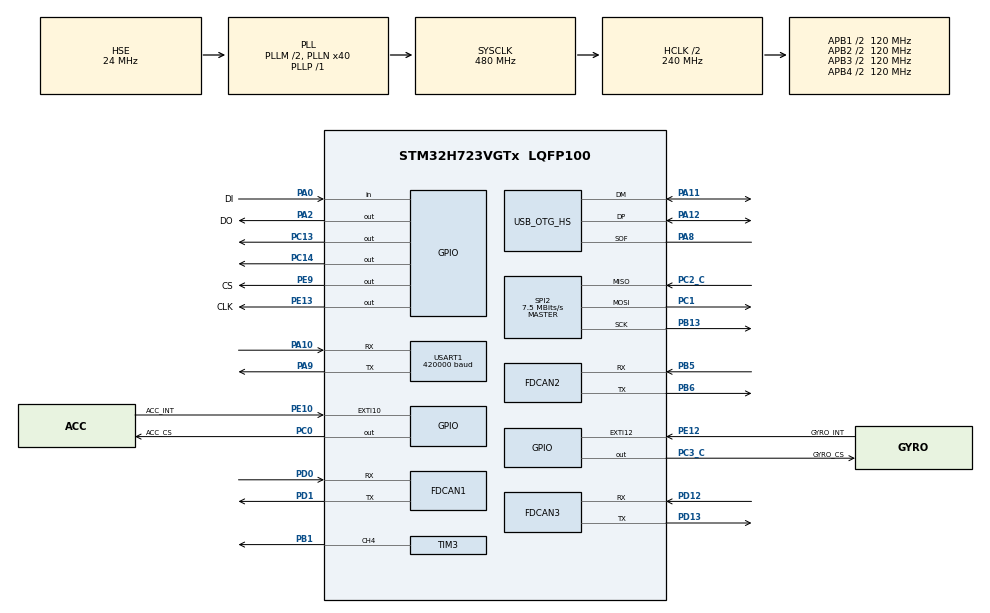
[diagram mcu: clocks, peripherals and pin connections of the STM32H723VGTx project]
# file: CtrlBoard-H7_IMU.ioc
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Dma.Request0=SPI2_RX
Dma.Request1=SPI2_TX
Dma.Request2=USART1_RX
Dma.SPI2_RX.0.Direction=DMA_PERIPH_TO_MEMORY
Dma.SPI2_RX.0.EventEnable=DISABLE
Dma.SPI2_RX.0.FIFOMode=DMA_FIFOMODE_DISABLE
Dma.SPI2_RX.0.Instance=DMA1_Stream0
Dma.SPI2_RX.0.MemDataAlignment=DMA_MDATAALIGN_BYTE
Dma.SPI2_RX.0.MemInc=DMA_MINC_ENABLE
Dma.SPI2_RX.0.Mode=DMA_NORMAL
Dma.SPI2_RX.0.PeriphDataAlignment=DMA_PDATAALIGN_BYTE
Dma.SPI2_RX.0.PeriphInc=DMA_PINC_DISABLE
Dma.SPI2_RX.0.Polarity=HAL_DMAMUX_REQ_GEN_RISING
Dma.SPI2_RX.0.Priority=DMA_PRIORITY_VERY_HIGH
Dma.SPI2_RX.0.RequestNumber=1
Dma.SPI2_RX.0.SignalID=NONE
Dma.SPI2_RX.0.SyncEnable=DISABLE
Dma.SPI2_RX.0.SyncPolarity=HAL_DMAMUX_SYNC_NO_EVENT
Dma.SPI2_RX.0.SyncRequestNumber=1
Dma.SPI2_RX.0.SyncSignalID=NONE
Dma.SPI2_TX.1.Direction=DMA_MEMORY_TO_PERIPH
Dma.SPI2_TX.1.EventEnable=DISABLE
Dma.SPI2_TX.1.FIFOMode=DMA_FIFOMODE_DISABLE
Dma.SPI2_TX.1.Instance=DMA1_Stream1
Dma.SPI2_TX.1.MemDataAlignment=DMA_MDATAALIGN_BYTE
Dma.SPI2_TX.1.MemInc=DMA_MINC_ENABLE
Dma.SPI2_TX.1.Mode=DMA_NORMAL
Dma.SPI2_TX.1.PeriphDataAlignment=DMA_PDATAALIGN_BYTE
Dma.SPI2_TX.1.PeriphInc=DMA_PINC_DISABLE
Dma.SPI2_TX.1.Polarity=HAL_DMAMUX_REQ_GEN_RISING
Dma.SPI2_TX.1.Priority=DMA_PRIORITY_HIGH
Dma.SPI2_TX.1.RequestNumber=1
Dma.SPI2_TX.1.SignalID=NONE
Dma.SPI2_TX.1.SyncEnable=DISABLE
Dma.SPI2_TX.1.SyncPolarity=HAL_DMAMUX_SYNC_NO_EVENT
Dma.SPI2_TX.1.SyncRequestNumber=1
Dma.SPI2_TX.1.SyncSignalID=NONE
Dma.USART1_RX.2.Direction=DMA_PERIPH_TO_MEMORY
Dma.USART1_RX.2.EventEnable=DISABLE
Dma.USART1_RX.2.FIFOMode=DMA_FIFOMODE_DISABLE
Dma.USART1_RX.2.Instance=DMA1_Stream2
Dma.USART1_RX.2.MemDataAlignment=DMA_MDATAALIGN_BYTE
Dma.USART1_RX.2.MemInc=DMA_MINC_ENABLE
Dma.USART1_RX.2.Mode=DMA_CIRCULAR
Dma.USART1_RX.2.PeriphDataAlignment=DMA_PDATAALIGN_BYTE
Dma.USART1_RX.2.PeriphInc=DMA_PINC_DISABLE
Dma.USART1_RX.2.Polarity=HAL_DMAMUX_REQ_GEN_RISING
Dma.USART1_RX.2.Priority=DMA_PRIORITY_HIGH
Dma.USART1_RX.2.RequestNumber=1
Dma.USART1_RX.2.SignalID=NONE
Dma.USART1_RX.2.SyncEnable=DISABLE
Dma.USART1_RX.2.SyncPolarity=HAL_DMAMUX_SYNC_NO_EVENT
Dma.USART1_RX.2.SyncRequestNumber=1
Dma.USART1_RX.2.SyncSignalID=NONE
FDCAN1.CalculateBaudRateNominal=1000000
FDCAN1.CalculateTimeBitNominal=1000
FDCAN1.CalculateTimeQuantumNominal=40.0
FDCAN1.DataPrescaler=4
FDCAN1.DataTimeSeg1=19
FDCAN1.DataTimeSeg2=5
FDCAN1.ExtFiltersNbr=5
FDCAN1.NominalPrescaler=4
FDCAN1.NominalTimeSeg1=19
FDCAN1.NominalTimeSeg2=5
FDCAN1.RxFifo0ElmtSize=FDCAN_DATA_BYTES_24
FDCAN1.RxFifo0ElmtsNbr=4
FDCAN1.RxFifo1ElmtSize=FDCAN_DATA_BYTES_24
FDCAN1.StdFiltersNbr=5
FDCAN1.TxElmtSize=FDCAN_DATA_BYTES_24
FDCAN1.TxFifoQueueElmtsNbr=8
FDCAN2.CalculateBaudRateNominal=1000000
FDCAN2.CalculateTimeBitNominal=1000
FDCAN2.CalculateTimeQuantumNominal=50.0
FDCAN2.DataPrescaler=5
FDCAN2.DataTimeSeg1=14
FDCAN2.DataTimeSeg2=5
FDCAN2.ExtFiltersNbr=5
FDCAN2.MessageRAMOffset=854
FDCAN2.NominalPrescaler=5
FDCAN2.NominalTimeSeg1=14
FDCAN2.NominalTimeSeg2=5
FDCAN2.RxFifo1ElmtSize=FDCAN_DATA_BYTES_24
FDCAN2.RxFifo1ElmtsNbr=4
FDCAN2.StdFiltersNbr=5
FDCAN2.TxElmtSize=FDCAN_DATA_BYTES_16
FDCAN2.TxFifoQueueElmtsNbr=4
FDCAN3.CalculateBaudRateNominal=1000000
FDCAN3.CalculateTimeBitNominal=1000
FDCAN3.CalculateTimeQuantumNominal=50.0
FDCAN3.DataPrescaler=5
FDCAN3.DataTimeSeg1=14
FDCAN3.DataTimeSeg2=5
FDCAN3.ExtFiltersNbr=5
FDCAN3.MessageRAMOffset=1709
FDCAN3.NominalPrescaler=5
FDCAN3.NominalTimeSeg1=14
FDCAN3.NominalTimeSeg2=5
FDCAN3.RxFifo0ElmtsNbr=2
FDCAN3.StdFiltersNbr=5
FDCAN3.TxFifoQueueElmtsNbr=3
FREERTOS.MEMORY_ALLOCATION=0
FREERTOS.Tasks01=defaultTask,0,128,StartDefaultTask,Default,NULL,Dynamic,NULL,NULL;INS_TASK,3,512,INS_Task,Default,NULL,Dynamic,NULL,NULL;OBSERVE_TASK,2,512,OBSERVE_Task,Default,NULL,Dynamic,NULL,NULL;REMOTE_CONTROL_,1,256,Remote_Control_Task,Default,NULL,Dynamic,NULL,NULL;CHASSIS_TASK,1,1024,Chassis_Task,Default,NULL,Dynamic,NULL,NULL;VOFA_TASK,-2,128,Vofa_task,Default,NULL,Dynamic,NULL,NULL;USB_RECEIVE_TAS,-2,256,Usb_receive_task,Default,NULL,Dynamic,NULL,NULL
FREERTOS.configENABLE_FPU=1
FREERTOS.configTOTAL_HEAP_SIZE=30720
Mcu.Family=STM32H7
Mcu.Name=STM32H723VGTx
Mcu.Package=LQFP100
NVIC.DMA1_Stream0_IRQn=true\:6\:0\:true\:false\:true\:true\:false\:true\:true
NVIC.DMA1_Stream1_IRQn=true\:6\:0\:true\:false\:true\:true\:false\:true\:true
NVIC.DMA1_Stream2_IRQn=true\:5\:0\:false\:false\:true\:true\:false\:true\:true
NVIC.FDCAN1_IT0_IRQn=true\:6\:0\:true\:false\:true\:true\:true\:true\:true
NVIC.FDCAN2_IT0_IRQn=true\:5\:0\:true\:false\:true\:true\:true\:true\:true
NVIC.FDCAN3_IT0_IRQn=true\:5\:0\:false\:false\:true\:true\:true\:true\:true
NVIC.OTG_HS_IRQn=true\:5\:0\:false\:false\:true\:true\:false\:true\:true
NVIC.PriorityGroup=NVIC_PRIORITYGROUP_4
NVIC.SPI2_IRQn=true\:5\:0\:true\:false\:true\:true\:false\:true\:true
NVIC.TIM2_IRQn=true\:15\:0\:false\:false\:true\:false\:false\:true\:true
NVIC.TimeBase=TIM2_IRQn
NVIC.TimeBaseIP=TIM2
NVIC.USART1_IRQn=true\:5\:0\:false\:false\:true\:true\:true\:true\:true
PA0.GPIO_Label=DI
PA0.GPIO_PuPd=GPIO_PULLUP
PA0.Signal=GPIO_Input
PA10.Mode=Asynchronous
PA10.Signal=USART1_RX
PA11.Mode=Device_Only_FS
PA11.Signal=USB_OTG_HS_DM
PA12.Mode=Device_Only_FS
PA12.Signal=USB_OTG_HS_DP
PA13(JTMS/SWDIO).Mode=Serial_Wire
PA13(JTMS/SWDIO).Signal=DEBUG_JTMS-SWDIO
PA14(JTCK/SWCLK).Mode=Serial_Wire
PA14(JTCK/SWCLK).Signal=DEBUG_JTCK-SWCLK
PA2.GPIO_Label=DO
PA2.GPIO_PuPd=GPIO_PULLUP
PA2.GPIO_Speed=GPIO_SPEED_FREQ_VERY_HIGH
PA2.PinState=GPIO_PIN_SET
PA2.Signal=GPIO_Output
PA8.Mode=Activate_SOF_FS
PA8.Signal=USB_OTG_HS_SOF
PA9.Mode=Asynchronous
PA9.Signal=USART1_TX
PB1.Signal=S_TIM3_CH4
PB13.GPIO_Speed=GPIO_SPEED_FREQ_VERY_HIGH
PB13.Mode=Full_Duplex_Master
PB13.Signal=SPI2_SCK
PB5.Mode=FDCAN_Activate
PB5.Signal=FDCAN2_RX
PB6.Mode=FDCAN_Activate
PB6.Signal=FDCAN2_TX
PC0.GPIO_Label=ACC_CS
PC0.GPIO_Speed=GPIO_SPEED_FREQ_VERY_HIGH
PC0.PinState=GPIO_PIN_SET
PC0.Signal=GPIO_Output
PC1.GPIO_Speed=GPIO_SPEED_FREQ_VERY_HIGH
PC1.Mode=Full_Duplex_Master
PC1.Signal=SPI2_MOSI
PC13.Signal=GPIO_Output
PC14-OSC32_IN.Signal=GPIO_Output
PC2_C.GPIO_Speed=GPIO_SPEED_FREQ_VERY_HIGH
PC2_C.Mode=Full_Duplex_Master
PC2_C.Signal=SPI2_MISO
PC3_C.GPIO_Label=GYRO_CS
PC3_C.GPIO_Speed=GPIO_SPEED_FREQ_VERY_HIGH
PC3_C.PinState=GPIO_PIN_SET
PC3_C.Signal=GPIO_Output
PD0.Mode=FDCAN_Activate
PD0.Signal=FDCAN1_RX
PD1.Mode=FDCAN_Activate
PD1.Signal=FDCAN1_TX
PD12.Mode=FDCAN_Activate
PD12.Signal=FDCAN3_RX
PD13.Mode=FDCAN_Activate
PD13.Signal=FDCAN3_TX
PE10.GPIO_Label=ACC_INT
PE10.Signal=GPXTI10
PE12.GPIO_Label=GYRO_INT
PE12.Signal=GPXTI12
PE13.GPIO_Label=CLK
PE13.GPIO_PuPd=GPIO_PULLUP
PE13.GPIO_Speed=GPIO_SPEED_FREQ_VERY_HIGH
PE13.PinState=GPIO_PIN_SET
PE13.Signal=GPIO_Output
PE9.GPIO_Label=CS
PE9.GPIO_PuPd=GPIO_PULLUP
PE9.GPIO_Speed=GPIO_SPEED_FREQ_VERY_HIGH
PE9.PinState=GPIO_PIN_SET
PE9.Signal=GPIO_Output
PH0-OSC_IN.Mode=HSE-External-Oscillator
PH0-OSC_IN.Signal=RCC_OSC_IN
PH1-OSC_OUT.Mode=HSE-External-Oscillator
PH1-OSC_OUT.Signal=RCC_OSC_OUT
ProjectManager.HeapSize=0x200
ProjectManager.StackSize=0x800
ProjectManager.TargetToolchain=MDK-ARM V5.27
RCC.ADCFreq_Value=100000000
RCC.APB1Freq_Value=120000000
RCC.APB2Freq_Value=120000000
RCC.APB3Freq_Value=120000000
RCC.APB4Freq_Value=120000000
RCC.CortexFreq_Value=480000000
RCC.D1PPRE=RCC_APB3_DIV2
RCC.D2PPRE1=RCC_APB1_DIV2
RCC.D2PPRE2=RCC_APB2_DIV2
RCC.D3PPRE=RCC_APB4_DIV2
RCC.DIVM1=2
RCC.DIVM2=24
RCC.DIVN1=40
RCC.DIVN2=200
RCC.DIVP1=1
RCC.FDCANCLockSelection=RCC_FDCANCLKSOURCE_PLL2
RCC.HCLKFreq_Value=240000000
RCC.HPRE=RCC_HCLK_DIV2
RCC.HSE_VALUE=24000000
RCC.PLL2FRACN=0
RCC.PLL3FRACN=0
RCC.PLLFRACN=0
RCC.PLLSourceVirtual=RCC_PLLSOURCE_HSE
RCC.SYSCLKFreq_VALUE=480000000
RCC.SYSCLKSource=RCC_SYSCLKSOURCE_PLLCLK
RCC.USBCLockSelection=RCC_USBCLKSOURCE_HSI48
RCC.USBFreq_Value=48000000
SH.S_TIM3_CH4.0=TIM3_CH4,PWM Generation4 CH4
SPI2.BaudRatePrescaler=SPI_BAUDRATEPRESCALER_32
SPI2.CLKPhase=SPI_PHASE_2EDGE
SPI2.CLKPolarity=SPI_POLARITY_HIGH
SPI2.CalculateBaudRate=7.5 MBits/s
SPI2.DataSize=SPI_DATASIZE_8BIT
SPI2.Direction=SPI_DIRECTION_2LINES
SPI2.Mode=SPI_MODE_MASTER
SPI2.VirtualType=VM_MASTER
TIM3.AutoReloadPreload=TIM_AUTORELOAD_PRELOAD_ENABLE
TIM3.Channel-PWM\ Generation4\ CH4=TIM_CHANNEL_4
TIM3.Period=10000-1
TIM3.Prescaler=24-1
USART1.BaudRate=420000
USART1.VirtualMode-Asynchronous=VM_ASYNC
USB_DEVICE.CLASS_NAME_HS=CDC
USB_DEVICE.VirtualMode=Cdc
USB_DEVICE.VirtualModeHS=Cdc_HS
USB_OTG_HS.VirtualMode-Device_Only_FS=Device_Only_FS
VP_FREERTOS_VS_CMSIS_V1.Mode=CMSIS_V1
VP_SYS_VS_tim2.Mode=TIM2
VP_USB_DEVICE_VS_USB_DEVICE_CDC_HS.Mode=CDC_HS
board=custom

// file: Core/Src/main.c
/* USER CODE BEGIN Header */
/**
  ******************************************************************************
  * @file           : main.c
  * @brief          : Main program body
  ******************************************************************************
  * @attention
  *
  * Copyright (c) 2024 STMicroelectronics.
  * All rights reserved.
  *
  * This software is licensed under terms that can be found in the LICENSE file
  * in the root directory of this software component.
  * If no LICENSE file comes with this software, it is provided AS-IS.
  *
  ******************************************************************************
  */
/* USER CODE END Header */
#include "main.h"
#include "cmsis_os.h"
#include "dma.h"
#include "fdcan.h"
#include "spi.h"
#include "tim.h"
#include "usart.h"
#include "usb_device.h"
#include "gpio.h"

/* USER CODE BEGIN Includes */
#include "BMI088driver.h"
#include "kalman_filter.h"
#include "mahony_filter.h"
#include "bsp_dwt.h"
#include "BMI088Middleware.h"
#include "can_bsp.h"

/* USER CODE END Includes */

void SystemClock_Config(void);
void PeriphCommonClock_Config(void);
void MX_FREERTOS_Init(void);

int main(void)
{

  /* MCU Configuration--------------------------------------------------------*/

  /* Reset of all peripherals, Initializes the Flash interface and the Systick. */
  HAL_Init();

  /* USER CODE BEGIN Init */
//06 01 00 00 00 00 00 00 00 00 00 00 00 00 80 3F
  /* USER CODE END Init */

  /* Configure the system clock */
  SystemClock_Config();

/* Configure the peripherals common clocks */
  PeriphCommonClock_Config();

  /* Initialize all configured peripherals */
  MX_GPIO_Init();
  MX_DMA_Init();
  MX_SPI2_Init();
  MX_FDCAN1_Init();
  MX_FDCAN2_Init();
  MX_TIM3_Init();
  MX_FDCAN3_Init();
  MX_USART1_UART_Init();
  /* USER CODE BEGIN 2 */
	DWT_Init(480);

    /* BMI088��ʼ�� */
  while (BMI088_init(&hspi2, 0) != BMI088_NO_ERROR)
	{
	  ;
	}
	Power_OUT1_ON;//imu��ʼ����ɣ��ɿص�Դ�򿪣�led����
	Power_OUT2_ON;

  FDCAN1_Config();//can��������ʼ��
	FDCAN2_Config();
  /* USER CODE END 2 */

  /* Call init function for freertos objects (in freertos.c) */
  MX_FREERTOS_Init();

  /* Start scheduler */
  osKernelStart();

  /* We should never get here as control is now taken by the scheduler */
  /* Infinite loop */
  while (1)
  {

  }
}

void SystemClock_Config(void)
{
  RCC_OscInitTypeDef RCC_OscInitStruct = {0};
  RCC_ClkInitTypeDef RCC_ClkInitStruct = {0};

  /** Supply configuration update enable
  */
  HAL_PWREx_ConfigSupply(PWR_LDO_SUPPLY);

  /** Configure the main internal regulator output voltage
  */
  __HAL_PWR_VOLTAGESCALING_CONFIG(PWR_REGULATOR_VOLTAGE_SCALE0);

  while(!__HAL_PWR_GET_FLAG(PWR_FLAG_VOSRDY)) {}

  /** Initializes the RCC Oscillators according to the specified parameters
  * in the RCC_OscInitTypeDef structure.
  */
  RCC_OscInitStruct.OscillatorType = RCC_OSCILLATORTYPE_HSI48|RCC_OSCILLATORTYPE_HSE;
  RCC_OscInitStruct.HSEState = RCC_HSE_ON;
  RCC_OscInitStruct.HSI48State = RCC_HSI48_ON;
  RCC_OscInitStruct.PLL.PLLState = RCC_PLL_ON;
  RCC_OscInitStruct.PLL.PLLSource = RCC_PLLSOURCE_HSE;
  RCC_OscInitStruct.PLL.PLLM = 2;
  RCC_OscInitStruct.PLL.PLLN = 40;
  RCC_OscInitStruct.PLL.PLLP = 1;
  RCC_OscInitStruct.PLL.PLLQ = 2;
  RCC_OscInitStruct.PLL.PLLR = 2;
  RCC_OscInitStruct.PLL.PLLRGE = RCC_PLL1VCIRANGE_3;
  RCC_OscInitStruct.PLL.PLLVCOSEL = RCC_PLL1VCOWIDE;
  RCC_OscInitStruct.PLL.PLLFRACN = 0;
  if (HAL_RCC_OscConfig(&RCC_OscInitStruct) != HAL_OK)
  {
    Error_Handler();
  }

  /** Initializes the CPU, AHB and APB buses clocks
  */
  RCC_ClkInitStruct.ClockType = RCC_CLOCKTYPE_HCLK|RCC_CLOCKTYPE_SYSCLK
                              |RCC_CLOCKTYPE_PCLK1|RCC_CLOCKTYPE_PCLK2
                              |RCC_CLOCKTYPE_D3PCLK1|RCC_CLOCKTYPE_D1PCLK1;
  RCC_ClkInitStruct.SYSCLKSource = RCC_SYSCLKSOURCE_PLLCLK;
  RCC_ClkInitStruct.SYSCLKDivider = RCC_SYSCLK_DIV1;
  RCC_ClkInitStruct.AHBCLKDivider = RCC_HCLK_DIV2;
  RCC_ClkInitStruct.APB3CLKDivider = RCC_APB3_DIV2;
  RCC_ClkInitStruct.APB1CLKDivider = RCC_APB1_DIV2;
  RCC_ClkInitStruct.APB2CLKDivider = RCC_APB2_DIV2;
  RCC_ClkInitStruct.APB4CLKDivider = RCC_APB4_DIV2;

  if (HAL_RCC_ClockConfig(&RCC_ClkInitStruct, FLASH_LATENCY_3) != HAL_OK)
  {
    Error_Handler();
  }
}

void PeriphCommonClock_Config(void)
{
  RCC_PeriphCLKInitTypeDef PeriphClkInitStruct = {0};

  /** Initializes the peripherals clock
  */
  PeriphClkInitStruct.PeriphClockSelection = RCC_PERIPHCLK_FDCAN;
  PeriphClkInitStruct.PLL2.PLL2M = 24;
  PeriphClkInitStruct.PLL2.PLL2N = 200;
  PeriphClkInitStruct.PLL2.PLL2P = 2;
  PeriphClkInitStruct.PLL2.PLL2Q = 2;
  PeriphClkInitStruct.PLL2.PLL2R = 2;
  PeriphClkInitStruct.PLL2.PLL2RGE = RCC_PLL2VCIRANGE_0;
  PeriphClkInitStruct.PLL2.PLL2VCOSEL = RCC_PLL2VCOMEDIUM;
  PeriphClkInitStruct.PLL2.PLL2FRACN = 0;
  PeriphClkInitStruct.FdcanClockSelection = RCC_FDCANCLKSOURCE_PLL2;
  if (HAL_RCCEx_PeriphCLKConfig(&PeriphClkInitStruct) != HAL_OK)
  {
    Error_Handler();
  }
}

void HAL_TIM_PeriodElapsedCallback(TIM_HandleTypeDef *htim)
{
  if (htim->Instance == TIM2) {
    HAL_IncTick();
  }
}

void Error_Handler(void)
{
  __disable_irq();
  while (1)
  {
  }
}

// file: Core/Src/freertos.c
/* USER CODE BEGIN Header */
/**
  ******************************************************************************
  * File Name          : freertos.c
  * Description        : Code for freertos applications
  ******************************************************************************
  * @attention
  *
  * Copyright (c) 2024 STMicroelectronics.
  * All rights reserved.
  *
  * This software is licensed under terms that can be found in the LICENSE file
  * in the root directory of this software component.
  * If no LICENSE file comes with this software, it is provided AS-IS.
  *
  ******************************************************************************
  */
/* USER CODE END Header */

#include "FreeRTOS.h"
#include "task.h"
#include "main.h"
#include "cmsis_os.h"

/* USER CODE BEGIN Includes */
#include "INS_task.h"
#include "chassis_task.h"
#include "observe_task.h"
#include "remote_control.h"
#include "vofa_task.h"
#include "usb_receive_task.h"
/* USER CODE END Includes */

osThreadId defaultTaskHandle;
osThreadId INS_TASKHandle;
osThreadId OBSERVE_TASKHandle;
osThreadId REMOTE_CONTROL_Handle;
osThreadId CHASSIS_TASKHandle;
osThreadId VOFA_TASKHandle;
osThreadId USB_RECEIVE_TASHandle;

void StartDefaultTask(void const * argument);
void INS_Task(void const * argument);
void OBSERVE_Task(void const * argument);
void Remote_Control_Task(void const * argument);
void Chassis_Task(void const * argument);
void Vofa_task(void const * argument);
void Usb_receive_task(void const * argument);

extern void MX_USB_DEVICE_Init(void);
void MX_FREERTOS_Init(void); /* (MISRA C 2004 rule 8.1) */

void MX_FREERTOS_Init(void) {

  /* Create the thread(s) */
  /* definition and creation of defaultTask */
  osThreadDef(defaultTask, StartDefaultTask, osPriorityNormal, 0, 128);
  defaultTaskHandle = osThreadCreate(osThread(defaultTask), NULL);

  /* definition and creation of INS_TASK */
  osThreadDef(INS_TASK, INS_Task, osPriorityRealtime, 0, 512);
  INS_TASKHandle = osThreadCreate(osThread(INS_TASK), NULL);

  /* definition and creation of OBSERVE_TASK */
  osThreadDef(OBSERVE_TASK, OBSERVE_Task, osPriorityHigh, 0, 512);
  OBSERVE_TASKHandle = osThreadCreate(osThread(OBSERVE_TASK), NULL);

  /* definition and creation of REMOTE_CONTROL_ */
  osThreadDef(REMOTE_CONTROL_, Remote_Control_Task, osPriorityAboveNormal, 0, 256);
  REMOTE_CONTROL_Handle = osThreadCreate(osThread(REMOTE_CONTROL_), NULL);

  /* definition and creation of CHASSIS_TASK */
  osThreadDef(CHASSIS_TASK, Chassis_Task, osPriorityAboveNormal, 0, 1024);
  CHASSIS_TASKHandle = osThreadCreate(osThread(CHASSIS_TASK), NULL);

  /* definition and creation of VOFA_TASK */
  osThreadDef(VOFA_TASK, Vofa_task, osPriorityLow, 0, 128);
  VOFA_TASKHandle = osThreadCreate(osThread(VOFA_TASK), NULL);

  /* definition and creation of USB_RECEIVE_TAS */
  osThreadDef(USB_RECEIVE_TAS, Usb_receive_task, osPriorityLow, 0, 256);
  USB_RECEIVE_TASHandle = osThreadCreate(osThread(USB_RECEIVE_TAS), NULL);

}

void StartDefaultTask(void const * argument)
{
  /* init code for USB_DEVICE */
  MX_USB_DEVICE_Init();
  for(;;)
  {
    osDelay(1);
  }
}

void INS_Task(void const * argument)
{
  /* USER CODE BEGIN INS_Task */

  /* Infinite loop */
  for(;;)
  {
    INS_task();
  }
  /* USER CODE END INS_Task */
}

void OBSERVE_Task(void const * argument)
{
  /* USER CODE BEGIN OBSERVE_Task */
  /* Infinite loop */
  for(;;)
  {
    Observe_task();
  }
  /* USER CODE END OBSERVE_Task */
}

void Remote_Control_Task(void const * argument)
{
  /* USER CODE BEGIN Remote_Control_Task */
  /* Infinite loop */
  for(;;)
  {
    remoteControlTask();
  }
  /* USER CODE END Remote_Control_Task */
}

void Chassis_Task(void const * argument)
{
  /* USER CODE BEGIN Chassis_Task */
  /* Infinite loop */
  for(;;)
  {
      chassis_task();
  }
  /* USER CODE END Chassis_Task */
}

void Vofa_task(void const * argument)
{
  /* USER CODE BEGIN Vofa_task */
  /* Infinite loop */
  for(;;)
  {
    vofa_task();
  }
  /* USER CODE END Vofa_task */
}

void Usb_receive_task(void const * argument)
{
  /* USER CODE BEGIN Usb_receive_task */
  /* Infinite loop */
  for(;;)
  {
    usb_receive_task();
  }
  /* USER CODE END Usb_receive_task */
}
